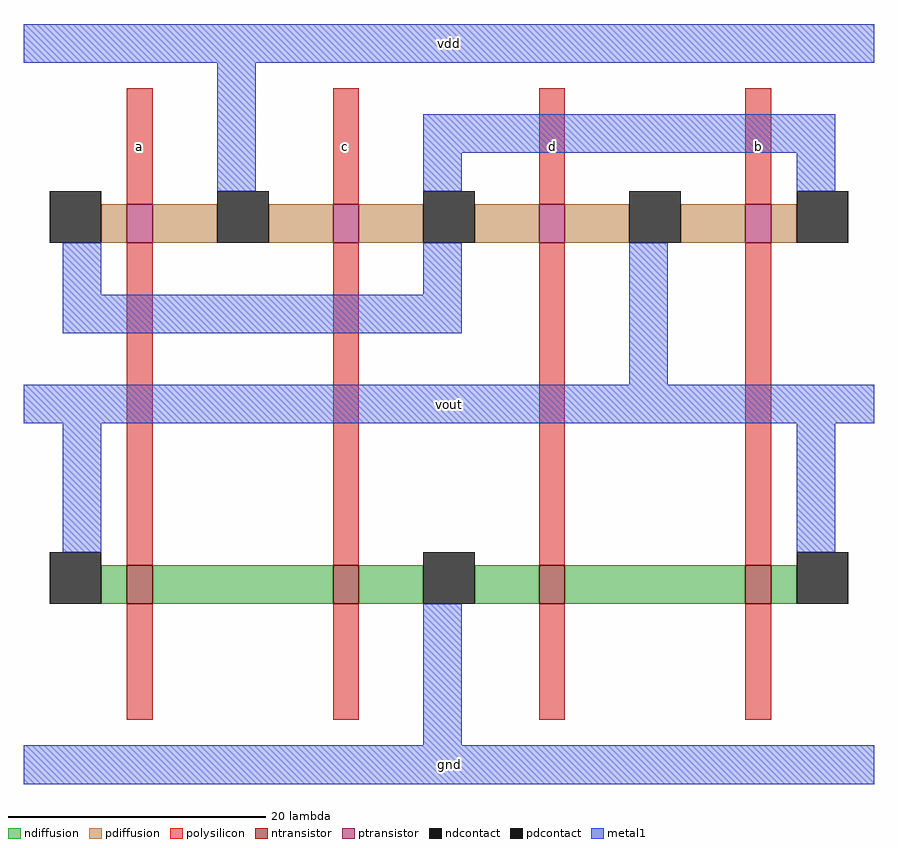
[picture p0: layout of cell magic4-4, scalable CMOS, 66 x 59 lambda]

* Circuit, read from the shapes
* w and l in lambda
.subckt magic4-4 a b c d gnd vdd vout
M1 n1 a vout VSUBS nfet w=3 l=2
M2 gnd c n1 VSUBS nfet w=3 l=2
M3 n2 d gnd VSUBS nfet w=3 l=2
M4 vout b n2 VSUBS nfet w=3 l=2
M5 vdd a n3 NWELL pfet w=3 l=2
M6 n3 c vdd NWELL pfet w=3 l=2
M7 vout d n3 NWELL pfet w=3 l=2
M8 n3 b vout NWELL pfet w=3 l=2
.ends

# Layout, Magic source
magic
tech scmos
<< polysilicon >>
rect -25 11 -23 20
rect -9 11 -7 20
rect 7 11 9 20
rect 23 11 25 20
rect -25 -17 -23 8
rect -9 -17 -7 8
rect 7 -17 9 8
rect 23 -17 25 8
rect -25 -29 -23 -20
rect -9 -29 -7 -20
rect 7 -29 9 -20
rect 23 -29 25 -20
<< ndiffusion >>
rect -27 -20 -25 -17
rect -23 -20 -9 -17
rect -7 -20 -2 -17
rect 2 -20 7 -17
rect 9 -20 23 -17
rect 25 -20 27 -17
<< pdiffusion >>
rect -27 8 -25 11
rect -23 8 -18 11
rect -14 8 -9 11
rect -7 8 -2 11
rect 2 8 7 11
rect 9 8 14 11
rect 18 8 23 11
rect 25 8 27 11
<< metal1 >>
rect -33 22 33 25
rect -18 12 -15 22
rect -2 15 30 18
rect -2 12 1 15
rect 27 12 30 15
rect -30 4 -27 8
rect -2 4 1 8
rect -30 1 1 4
rect 14 -3 17 8
rect -33 -6 33 -3
rect -30 -16 -27 -6
rect 27 -16 30 -6
rect -2 -31 1 -20
rect -33 -34 33 -31
<< ntransistor >>
rect -25 -20 -23 -17
rect -9 -20 -7 -17
rect 7 -20 9 -17
rect 23 -20 25 -17
<< ptransistor >>
rect -25 8 -23 11
rect -9 8 -7 11
rect 7 8 9 11
rect 23 8 25 11
<< ndcontact >>
rect -31 -20 -27 -16
rect -2 -20 2 -16
rect 27 -20 31 -16
<< pdcontact >>
rect -31 8 -27 12
rect -18 8 -14 12
rect -2 8 2 12
rect 14 8 18 12
rect 27 8 31 12
<< labels >>
rlabel metal1 -33 -6 33 -3 7 vout
rlabel metal1 -33 22 33 25 7 vdd
rlabel metal1 -33 -34 33 -31 7 gnd
rlabel polysilicon -25 11 -23 20 1 a
rlabel polysilicon -9 11 -7 20 1 c
rlabel polysilicon 7 11 9 20 1 d
rlabel polysilicon 23 11 25 20 1 b
<< end >>
